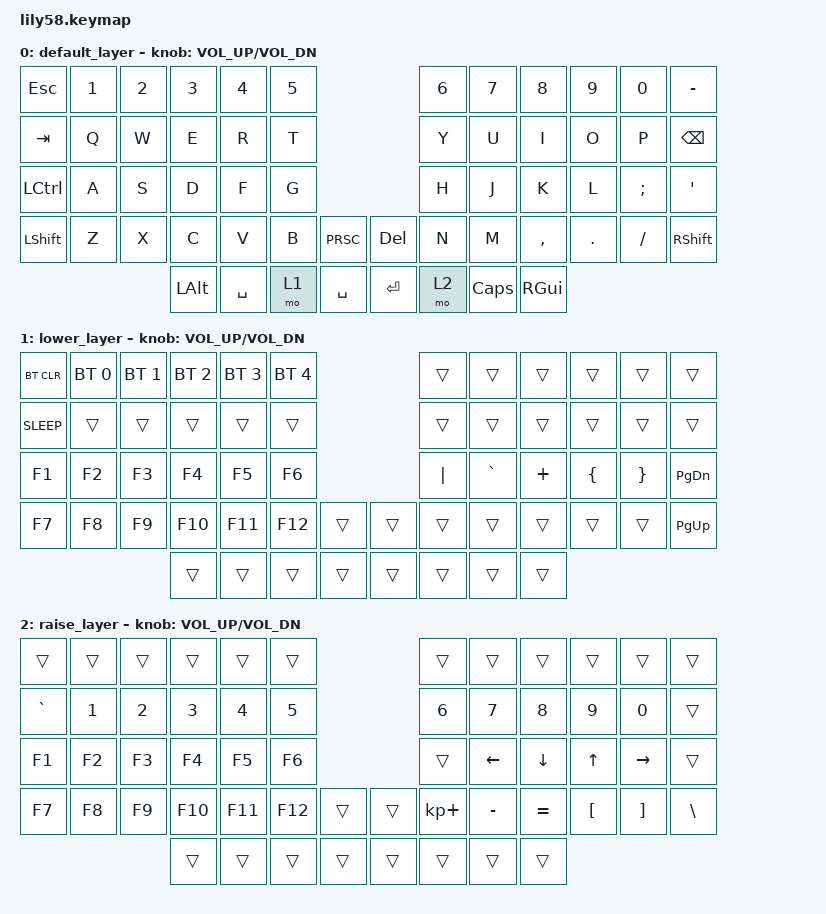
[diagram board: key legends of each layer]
/*
 * Copyright (c) 2020 The ZMK Contributors
 *
 * SPDX-License-Identifier: MIT
 */

#include <behaviors.dtsi>
#include <dt-bindings/zmk/keys.h>
#include <dt-bindings/zmk/bt.h>
#include <dt-bindings/zmk/ext_power.h>

/ {
	keymap {
		compatible = "zmk,keymap";

		default_layer {
// ------------------------------------------------------------------------------------------------------------
// |  ESC  |  1  |  2  |  3   |  4   |  5   |                   |  6   |  7    |  8    |  9   |   0   |   -   |
// |  TAB  |  Q  |  W  |  E   |  R   |  T   |                   |  Y   |  U    |  I    |  O   |   P   | BSPC  |
// |  CTRL |  A  |  S  |  D   |  F   |  G   |                   |  H   |  J    |  K    |  L   |   ;   |   '   |
// | SHIFT |  Z  |  X  |  C   |  V   |  B   |   "[ "  |  |  "]"  |  N   |  M    |  ,    |  .   |   /   | SHIFT |
//                     | ALT  | GUI  | LOWER|  SPACE |  | ENSPC  | GUI   |
			bindings = <
&kp ESC   &kp N1 &kp N2 &kp N3   &kp N4   &kp N5                     &kp N6 &kp N7   &kp N8    &kp N9  &kp N0   &kp MINUS
&kp TAB   &kp Q  &kp W  &kp E    &kp R    &kp T                      &kp Y  &kp U    &kp I     &kp O   &kp P    &kp BSPC
&kp LCTRL &kp A  &kp S  &kp D    &kp F    &kp G                      &kp H  &kp J    &kp K     &kp L   &kp SEMI &kp SQT
&kp LSHFT &kp Z  &kp X  &kp C    &kp V    &kp B  &kp PRSC    &kp DEL &kp N  &kp M    &kp COMMA &kp DOT &kp FSLH &kp RSHFT
                       &kp LALT &kp SPACE &mo 1  &kp SPACE  &kp RET  &mo 2 &kp CAPS &kp RGUI
			>;

			sensor-bindings = <&inc_dec_kp C_VOL_UP C_VOL_DN>;
		};

		lower_layer {
// ------------------------------------------------------------------------------------------------------------
// | BTCLR | BT1 | BT2 |  BT3 |  BT4 |  BT5 |                   |      |       |       |      |       |        |
// | KSLEEP|     |     |      |      |      |                   |      |       |       |      |       |        |
// |   F1  |  F2 |  F3 |  F4  |  F5  |  F6  |                   | "|"  |   ~   |   +   |  {   |   }   |  PGUP  |
// |   F7  |  F8 |  F9 |  F10 |  F11 |  F12 |        |  |       |      |       |       |      |       |  PGDN  |
//                     |      |      |      |        |  |       |      |       |       |
			bindings = <
&bt BT_CLR &bt BT_SEL 0 &bt BT_SEL 1 &bt BT_SEL 2 &bt BT_SEL 3 &bt BT_SEL 4 &trans    &trans     &trans    &trans    &trans   &trans
&kp K_SLEEP &trans &trans &trans  &trans  &trans                            &trans    &trans     &trans    &trans    &trans   &trans
&kp F1      &kp F2 &kp F3 &kp F4  &kp F5  &kp F6                            &kp PIPE  &kp GRAVE  &kp PLUS  &kp LBRC  &kp RBRC &kp PG_DN
&kp F7      &kp F8 &kp F9 &kp F10 &kp F11 &kp F12  &trans         &trans    &trans    &trans     &trans    &trans    &trans   &kp PG_UP
                         &trans  &trans  &trans    &trans         &trans    &trans    &trans     &trans
			>;

			sensor-bindings = <&inc_dec_kp C_VOL_UP C_VOL_DN>;
		};

		raise_layer {
// ------------------------------------------------------------------------------------------------------------
// |       |     |     |      |      |      |                   |      |       |       |      |       |       |
// |   `   |  1  |  2  |  3   |  4   |  5   |                   |  6   |   7   |   8   |  9   |   0   |       |
// |   F1  |  F2 |  F3 |  F4  |  F5  |  F6  |                   |      |   <-  |   ^   |  v   |  ->   |       |
// |   F7  |  F8 |  F9 |  F10 |  F11 |  F12 |        |  |       |  +   |   -   |   =   |  [   |   ]   |   \   |
//                     |      |      |      |        |  |       |      |       |       |
			bindings = <
&trans    &trans &trans &trans  &trans  &trans                       &trans      &trans    &trans    &trans   &trans    &trans
&kp GRAVE &kp N1 &kp N2 &kp N3  &kp N4  &kp N5                       &kp N6      &kp N7    &kp N8    &kp N9   &kp N0    &trans
&kp F1    &kp F2 &kp F3 &kp F4  &kp F5  &kp F6                       &trans      &kp LEFT  &kp DOWN  &kp UP   &kp RIGHT &trans
&kp F7    &kp F8 &kp F9 &kp F10 &kp F11 &kp F12   &trans   &trans    &kp KP_PLUS &kp MINUS &kp EQUAL &kp LBKT &kp RBKT  &kp BSLH
                        &trans  &trans  &trans    &trans   &trans    &trans      &trans    &trans
			>;

			sensor-bindings = <&inc_dec_kp C_VOL_UP C_VOL_DN>;
		};
	};
};
